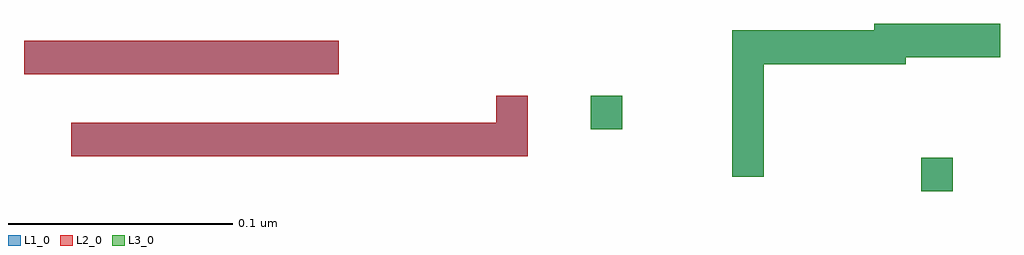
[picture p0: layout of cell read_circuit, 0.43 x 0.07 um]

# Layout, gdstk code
import gdstk
lib = gdstk.Library(unit=1e-6, precision=5e-10)
def R(c, l, rs):  # rectangles x0, y0, x1, y1
    for r in rs: c.add(gdstk.rectangle(r[:2], r[2:], *l))
def P(c, l, *ps):  # polygons
    for p in ps: c.add(gdstk.Polygon(p, *l))
L1_0 = (1, 0)
L2_0 = (2, 0)
L3_0 = (3, 0)

read_circuit = lib.new_cell('read_circuit')
R(read_circuit, L1_0, [(0.4475,0.04,0.4615,0.055), (0.3005,0.0675,0.3145,0.0825), (0.0485,0.092,0.1885,0.107)])
P(read_circuit, L1_0, [(0.4825,0.1145),(0.4825,0.0995),(0.4405,0.0995),(0.4405,0.0965),(0.3775,0.0965),(0.3775,0.0465),(0.3635,0.0465),(0.3635,0.1115),(0.4265,0.1115),(0.4265,0.1145)],
  [(0.2725,0.0825),(0.2725,0.0555),(0.0695,0.0555),(0.0695,0.0705),(0.2585,0.0705),(0.2585,0.0825)])
R(read_circuit, L2_0, [(0.0485,0.092,0.1885,0.107)])
P(read_circuit, L2_0, [(0.2725,0.0825),(0.2725,0.0555),(0.0695,0.0555),(0.0695,0.0705),(0.2585,0.0705),(0.2585,0.0825)])
R(read_circuit, L3_0, [(0.4475,0.04,0.4615,0.055), (0.3005,0.0675,0.3145,0.0825)])
P(read_circuit, L3_0, [(0.4825,0.1145),(0.4825,0.0995),(0.4405,0.0995),(0.4405,0.0965),(0.3775,0.0965),(0.3775,0.0465),(0.3635,0.0465),(0.3635,0.1115),(0.4265,0.1115),(0.4265,0.1145)])

lib.write_gds('read_circuit.gds')
